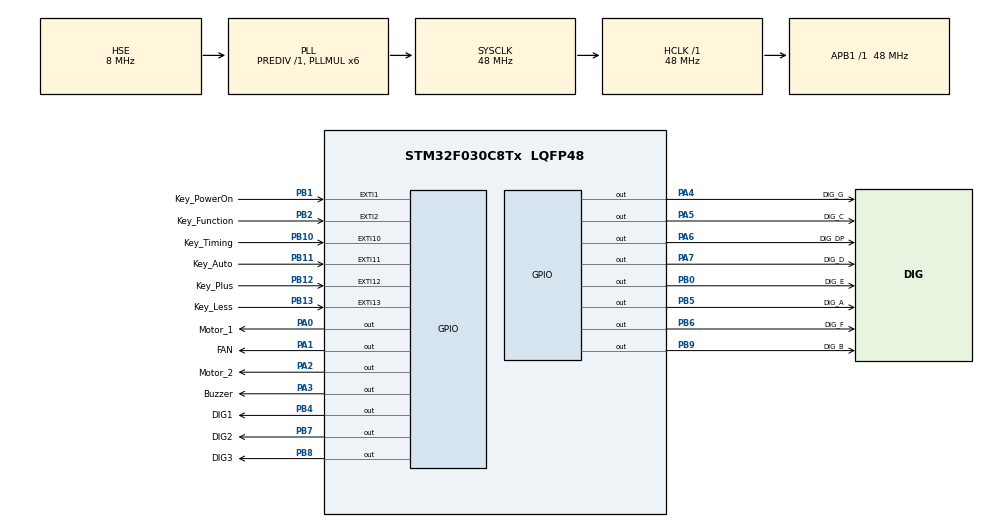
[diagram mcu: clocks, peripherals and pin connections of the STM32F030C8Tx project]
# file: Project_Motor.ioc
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Mcu.Family=STM32F0
Mcu.Name=STM32F030C8Tx
Mcu.Package=LQFP48
NVIC.EXTI0_1_IRQn=true\:0\:0\:false\:false\:true\:true\:true
NVIC.EXTI2_3_IRQn=true\:0\:0\:false\:false\:true\:true\:true
NVIC.EXTI4_15_IRQn=true\:0\:0\:false\:false\:true\:true\:true
NVIC.RCC_IRQn=true\:0\:0\:false\:false\:true\:true\:false
PA0.GPIO_Label=Motor_1
PA0.GPIO_PuPd=GPIO_PULLUP
PA0.GPIO_Speed=GPIO_SPEED_FREQ_HIGH
PA0.PinState=GPIO_PIN_SET
PA0.Signal=GPIO_Output
PA1.GPIO_Label=FAN
PA1.GPIO_PuPd=GPIO_PULLUP
PA1.GPIO_Speed=GPIO_SPEED_FREQ_HIGH
PA1.PinState=GPIO_PIN_SET
PA1.Signal=GPIO_Output
PA13.Mode=Serial_Wire
PA13.Signal=SYS_SWDIO
PA14.Mode=Serial_Wire
PA14.Signal=SYS_SWCLK
PA2.GPIO_Label=Motor_2
PA2.GPIO_PuPd=GPIO_PULLUP
PA2.GPIO_Speed=GPIO_SPEED_FREQ_HIGH
PA2.PinState=GPIO_PIN_SET
PA2.Signal=GPIO_Output
PA3.GPIO_Label=Buzzer
PA3.Signal=GPIO_Output
PA4.GPIO_Label=DIG_G
PA4.Signal=GPIO_Output
PA5.GPIO_Label=DIG_C
PA5.Signal=GPIO_Output
PA6.GPIO_Label=DIG_DP
PA6.Signal=GPIO_Output
PA7.GPIO_Label=DIG_D
PA7.Signal=GPIO_Output
PB0.GPIO_Label=DIG_E
PB0.Signal=GPIO_Output
PB1.GPIO_Label=Key_PowerOn
PB1.GPIO_ModeDefaultEXTI=GPIO_MODE_IT_FALLING
PB1.Signal=GPXTI1
PB10.GPIO_Label=Key_Timing
PB10.GPIO_ModeDefaultEXTI=GPIO_MODE_IT_FALLING
PB10.Signal=GPXTI10
PB11.GPIO_Label=Key_Auto
PB11.GPIO_ModeDefaultEXTI=GPIO_MODE_IT_FALLING
PB11.Signal=GPXTI11
PB12.GPIO_Label=Key_Plus
PB12.GPIO_ModeDefaultEXTI=GPIO_MODE_IT_FALLING
PB12.Signal=GPXTI12
PB13.GPIO_Label=Key_Less
PB13.GPIO_ModeDefaultEXTI=GPIO_MODE_IT_FALLING
PB13.Signal=GPXTI13
PB2.GPIO_Label=Key_Function
PB2.GPIO_ModeDefaultEXTI=GPIO_MODE_IT_FALLING
PB2.Signal=GPXTI2
PB4.GPIO_Label=DIG1
PB4.Signal=GPIO_Output
PB5.GPIO_Label=DIG_A
PB5.Signal=GPIO_Output
PB6.GPIO_Label=DIG_F
PB6.Signal=GPIO_Output
PB7.GPIO_Label=DIG2
PB7.Signal=GPIO_Output
PB8.GPIO_Label=DIG3
PB8.Signal=GPIO_Output
PB9.GPIO_Label=DIG_B
PB9.Signal=GPIO_Output
PF0-OSC_IN.Mode=HSE-External-Clock-Source
PF0-OSC_IN.Signal=RCC_OSC_IN
ProjectManager.HeapSize=0x200
ProjectManager.StackSize=0x400
ProjectManager.TargetToolchain=MDK-ARM V5
RCC.AHBFreq_Value=48000000
RCC.APB1Freq_Value=48000000
RCC.APB1TimFreq_Value=48000000
RCC.HCLKFreq_Value=48000000
RCC.PLLMUL=RCC_PLL_MUL6
RCC.PLLSourceVirtual=RCC_PLLSOURCE_HSE
RCC.SYSCLKFreq_VALUE=48000000
RCC.SYSCLKSource=RCC_SYSCLKSOURCE_PLLCLK
VP_RTC_VS_RTC_Activate.Mode=RTC_Enabled
VP_TIM1_VS_ClockSourceITR.Mode=TriggerSource_ITR0
VP_TIM1_VS_ControllerModeClock.Mode=Clock Mode
board=custom

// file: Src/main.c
/* USER CODE BEGIN Header */
/**
  ******************************************************************************
  * @file           : main.c
  * @brief          : Main program body
  ******************************************************************************
  * @attention
  *
  * <h2><center>&copy; Copyright (c) 2020 STMicroelectronics.
  * All rights reserved.</center></h2>
  *
  * This software component is licensed by ST under BSD 3-Clause license,
  * the "License"; You may not use this file except in compliance with the
  * License. You may obtain a copy of the License at:
  *                        opensource.org/licenses/BSD-3-Clause
  *
  ******************************************************************************
  */
/* USER CODE END Header */

#include "main.h"

/* USER CODE BEGIN Includes */
#include <stdbool.h>
#include <stdint.h>
#include "My_define.h"
/* USER CODE END Includes */

RTC_HandleTypeDef hrtc;

TIM_HandleTypeDef htim1;

/* USER CODE BEGIN PV */
bool LOGIC_POWER_ON = false;
bool LOGIC_FUNCTION = false;
bool LOGIC_TIMING = false;
bool LOGIC_AUTO = false;
bool LOGIC_PLUS = false;
bool LOGIC_LESS = false;
uint16_t POWER_ON_MOTOR1_TIME = 0;
uint16_t POWER_ON_MOTOR2_TIME = 0;
uint16_t POWER_ON_FAN_TIME = 0;

uint16_t POWER_ON_SET_MOTOR1_TIME = 0;
uint16_t POWER_ON_SET_MOTOR2_TIME = 0;
uint16_t POWER_ON_SET_FAN_TIME = 0;

uint8_t TIME_SET_1;
uint8_t TIME_SET_2;
uint8_t TIME_SET_3;
uint8_t TIME_SHOW_1;
uint8_t TIME_SHOW_2;
uint8_t TIME_SHOW_3;

/* USER CODE END PV */

void SystemClock_Config(void);
static void MX_GPIO_Init(void);
static void MX_RTC_Init(void);
static void MX_TIM1_Init(void);

int main(void)
{

  /* MCU Configuration--------------------------------------------------------*/

  /* Reset of all peripherals, Initializes the Flash interface and the Systick. */
  HAL_Init();

  /* Configure the system clock */
  SystemClock_Config();

  /* Initialize all configured peripherals */
  MX_GPIO_Init();
  MX_RTC_Init();
  MX_TIM1_Init();

  /* Infinite loop */
  while (1)
  {

    /* USER CODE BEGIN 3 */
		Digital_Tube_Show();
//		if(LOGIC_POWER_ON&&POWER_ON_MOTOR1_TIME)Motor_1_H;
//		else Motor_1_L;

//		if(LOGIC_POWER_ON&&POWER_ON_MOTOR2_TIME)Motor_2_H;
//		else Motor_2_L;

//		if(LOGIC_POWER_ON&&POWER_ON_FAN_TIME)FAN_H;
//		else FAN_L;

  }
  /* USER CODE END 3 */
}

void SystemClock_Config(void)
{
  RCC_OscInitTypeDef RCC_OscInitStruct = {0};
  RCC_ClkInitTypeDef RCC_ClkInitStruct = {0};
  RCC_PeriphCLKInitTypeDef PeriphClkInit = {0};

  /** Initializes the CPU, AHB and APB busses clocks
  */
  RCC_OscInitStruct.OscillatorType = RCC_OSCILLATORTYPE_LSI|RCC_OSCILLATORTYPE_HSE;
  RCC_OscInitStruct.HSEState = RCC_HSE_BYPASS;
  RCC_OscInitStruct.LSIState = RCC_LSI_ON;
  RCC_OscInitStruct.PLL.PLLState = RCC_PLL_ON;
  RCC_OscInitStruct.PLL.PLLSource = RCC_PLLSOURCE_HSE;
  RCC_OscInitStruct.PLL.PLLMUL = RCC_PLL_MUL6;
  RCC_OscInitStruct.PLL.PREDIV = RCC_PREDIV_DIV1;
  if (HAL_RCC_OscConfig(&RCC_OscInitStruct) != HAL_OK)
  {
    Error_Handler();
  }
  /** Initializes the CPU, AHB and APB busses clocks
  */
  RCC_ClkInitStruct.ClockType = RCC_CLOCKTYPE_HCLK|RCC_CLOCKTYPE_SYSCLK
                              |RCC_CLOCKTYPE_PCLK1;
  RCC_ClkInitStruct.SYSCLKSource = RCC_SYSCLKSOURCE_PLLCLK;
  RCC_ClkInitStruct.AHBCLKDivider = RCC_SYSCLK_DIV1;
  RCC_ClkInitStruct.APB1CLKDivider = RCC_HCLK_DIV1;

  if (HAL_RCC_ClockConfig(&RCC_ClkInitStruct, FLASH_LATENCY_1) != HAL_OK)
  {
    Error_Handler();
  }
  PeriphClkInit.PeriphClockSelection = RCC_PERIPHCLK_RTC;
  PeriphClkInit.RTCClockSelection = RCC_RTCCLKSOURCE_LSI;
  if (HAL_RCCEx_PeriphCLKConfig(&PeriphClkInit) != HAL_OK)
  {
    Error_Handler();
  }
}

static void MX_RTC_Init(void)
{

  /** Initialize RTC Only
  */
  hrtc.Instance = RTC;
  hrtc.Init.HourFormat = RTC_HOURFORMAT_24;
  hrtc.Init.AsynchPrediv = 127;
  hrtc.Init.SynchPrediv = 255;
  hrtc.Init.OutPut = RTC_OUTPUT_DISABLE;
  hrtc.Init.OutPutPolarity = RTC_OUTPUT_POLARITY_HIGH;
  hrtc.Init.OutPutType = RTC_OUTPUT_TYPE_OPENDRAIN;
  if (HAL_RTC_Init(&hrtc) != HAL_OK)
  {
    Error_Handler();
  }

}

static void MX_TIM1_Init(void)
{

  TIM_SlaveConfigTypeDef sSlaveConfig = {0};
  TIM_MasterConfigTypeDef sMasterConfig = {0};

  htim1.Instance = TIM1;
  htim1.Init.Prescaler = 0;
  htim1.Init.CounterMode = TIM_COUNTERMODE_UP;
  htim1.Init.Period = 0;
  htim1.Init.ClockDivision = TIM_CLOCKDIVISION_DIV1;
  htim1.Init.RepetitionCounter = 0;
  htim1.Init.AutoReloadPreload = TIM_AUTORELOAD_PRELOAD_DISABLE;
  if (HAL_TIM_Base_Init(&htim1) != HAL_OK)
  {
    Error_Handler();
  }
  sSlaveConfig.SlaveMode = TIM_SLAVEMODE_EXTERNAL1;
  sSlaveConfig.InputTrigger = TIM_TS_ITR0;
  if (HAL_TIM_SlaveConfigSynchronization(&htim1, &sSlaveConfig) != HAL_OK)
  {
    Error_Handler();
  }
  sMasterConfig.MasterOutputTrigger = TIM_TRGO_RESET;
  sMasterConfig.MasterSlaveMode = TIM_MASTERSLAVEMODE_DISABLE;
  if (HAL_TIMEx_MasterConfigSynchronization(&htim1, &sMasterConfig) != HAL_OK)
  {
    Error_Handler();
  }

}

static void MX_GPIO_Init(void)
{
  GPIO_InitTypeDef GPIO_InitStruct = {0};

  /* GPIO Ports Clock Enable */
  __HAL_RCC_GPIOF_CLK_ENABLE();
  __HAL_RCC_GPIOA_CLK_ENABLE();
  __HAL_RCC_GPIOB_CLK_ENABLE();

  /*Configure GPIO pin Output Level */
  HAL_GPIO_WritePin(GPIOA, Motor_1_Pin|FAN_Pin|Motor_2_Pin, GPIO_PIN_SET);

  /*Configure GPIO pin Output Level */
  HAL_GPIO_WritePin(GPIOA, Buzzer_Pin|DIG_G_Pin|DIG_C_Pin|DIG_DP_Pin
                          |DIG_D_Pin, GPIO_PIN_RESET);

  /*Configure GPIO pin Output Level */
  HAL_GPIO_WritePin(GPIOB, DIG_E_Pin|DIG1_Pin|DIG_A_Pin|DIG_F_Pin
                          |DIG2_Pin|DIG3_Pin|DIG_B_Pin, GPIO_PIN_RESET);

  /*Configure GPIO pins : Motor_1_Pin FAN_Pin Motor_2_Pin */
  GPIO_InitStruct.Pin = Motor_1_Pin|FAN_Pin|Motor_2_Pin;
  GPIO_InitStruct.Mode = GPIO_MODE_OUTPUT_PP;
  GPIO_InitStruct.Pull = GPIO_NOPULL;
  GPIO_InitStruct.Speed = GPIO_SPEED_FREQ_HIGH;
  HAL_GPIO_Init(GPIOA, &GPIO_InitStruct);

  /*Configure GPIO pins : Buzzer_Pin DIG_G_Pin DIG_C_Pin DIG_DP_Pin
                           DIG_D_Pin */
  GPIO_InitStruct.Pin = Buzzer_Pin|DIG_G_Pin|DIG_C_Pin|DIG_DP_Pin
                          |DIG_D_Pin;
  GPIO_InitStruct.Mode = GPIO_MODE_OUTPUT_PP;
  GPIO_InitStruct.Pull = GPIO_NOPULL;
  GPIO_InitStruct.Speed = GPIO_SPEED_FREQ_HIGH;
  HAL_GPIO_Init(GPIOA, &GPIO_InitStruct);

  /*Configure GPIO pins : DIG_E_Pin DIG1_Pin DIG_A_Pin DIG_F_Pin
                           DIG2_Pin DIG3_Pin DIG_B_Pin */
  GPIO_InitStruct.Pin = DIG_E_Pin|DIG1_Pin|DIG_A_Pin|DIG_F_Pin
                          |DIG2_Pin|DIG3_Pin|DIG_B_Pin;
  GPIO_InitStruct.Mode = GPIO_MODE_OUTPUT_PP;
  GPIO_InitStruct.Pull = GPIO_NOPULL;
  GPIO_InitStruct.Speed = GPIO_SPEED_FREQ_HIGH;
  HAL_GPIO_Init(GPIOB, &GPIO_InitStruct);

  /*Configure GPIO pins : Key_PowerOn_Pin Key_Function_Pin Key_Timing_Pin Key_Auto_Pin
                           Key_Plus_Pin Key_Less_Pin */
  GPIO_InitStruct.Pin = Key_PowerOn_Pin|Key_Function_Pin|Key_Timing_Pin|Key_Auto_Pin
                          |Key_Plus_Pin|Key_Less_Pin;
  GPIO_InitStruct.Mode = GPIO_MODE_IT_FALLING;
  GPIO_InitStruct.Pull = GPIO_NOPULL;
  HAL_GPIO_Init(GPIOB, &GPIO_InitStruct);

  /* EXTI interrupt init*/
  HAL_NVIC_SetPriority(EXTI0_1_IRQn, 0, 0);
  HAL_NVIC_EnableIRQ(EXTI0_1_IRQn);

  HAL_NVIC_SetPriority(EXTI2_3_IRQn, 0, 0);
  HAL_NVIC_EnableIRQ(EXTI2_3_IRQn);

  HAL_NVIC_SetPriority(EXTI4_15_IRQn, 0, 0);
  HAL_NVIC_EnableIRQ(EXTI4_15_IRQn);

}

void Error_Handler(void)
{
}

/************************ (C) COPYRIGHT STMicroelectronics *****END OF FILE****/
